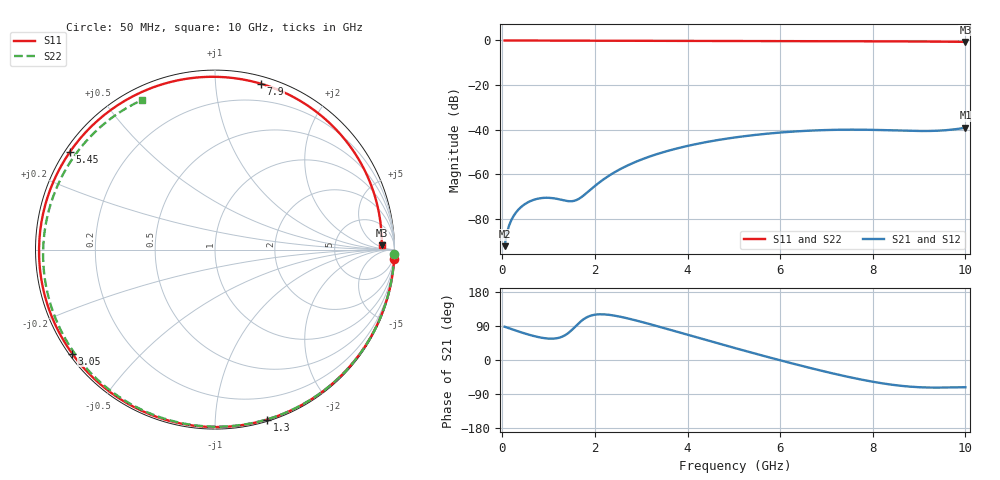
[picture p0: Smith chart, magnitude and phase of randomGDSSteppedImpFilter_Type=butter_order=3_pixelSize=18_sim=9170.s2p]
! freq	dB(S11)	phase(S11)	dB(S12)	phase(S12)
!  dB(S21)	phase(S21)	dB(S22)	phase(S22)
!S-par simulation data
#  GHz  S  DB  R 50
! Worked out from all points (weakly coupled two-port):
!   200 points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, 50 MHz to 10 GHz, reference 50 ohm
!   highest |S21| = -39.10 dB at 10 GHz (marker M1); lowest = -92.2 dB at 50 MHz (marker M2)
!   lowest |S11| = -0.6 dB at 10 GHz (marker M3), VSWR 27.23, Z = 1.22e+03 + j420 ohm
!   |S11| at or under -10 dB: nowhere
!   |S22| runs from -0.7 to 0.0 dB; largest |S21 - S12| = 0
!   S11 on the Smith chart (normalised r, x): 50 MHz: 0, -38; 1.3 GHz: 0.01, -1.35; 3.05 GHz: 0.01, -0.33; 5.45 GHz: 0.01, +0.31; 7.9 GHz: 0.06, +1.32; 10 GHz: 24, +8
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0.05  -0.00 -3.0  -92.15 87.9  -92.15 87.9  -0.00 -1.4
0.2  -0.02 -12.0  -80.26 81.5  -80.26 81.5  -0.01 -5.4
0.4  -0.04 -23.8  -74.72 73.3  -74.72 73.3  -0.02 -10.8
0.7  -0.05 -41.1  -71.25 62.7  -71.25 62.7  -0.02 -18.9
1  -0.07 -57.5  -70.49 56.5  -70.49 56.5  -0.03 -26.8
1.3  -0.08 -73.0  -71.49 61.9  -71.49 61.9  -0.04 -34.8
1.55  -0.10 -85.1  -71.85 85.0  -71.85 85.0  -0.05 -41.3
1.75  -0.10 -94.2  -69.53 107.1  -69.53 107.1  -0.06 -46.4
2.35  -0.12 -119.0  -59.98 118.5  -59.98 118.5  -0.08 -61.6
3.05  -0.14 -144.0  -52.99 99.2  -52.99 99.2  -0.10 -78.7
3.4  -0.15 -155.3  -50.52 87.4  -50.52 87.4  -0.11 -87.1
4.2  -0.17 -179.2  -46.35 59.8  -46.35 59.8  -0.14 -105.6
5.05  -0.21 157.0  -43.37 30.6  -43.37 30.6  -0.19 -124.6
5.45  -0.22 146.0  -42.34 17.2  -42.34 17.2  -0.21 -133.4
6.1  -0.26 127.9  -41.09 -4.0  -41.09 -4.0  -0.25 -147.7
6.7  -0.29 110.8  -40.35 -22.6  -40.35 -22.6  -0.30 -161.0
7.3  -0.32 93.1  -40.00 -40.0  -40.00 -40.0  -0.35 -174.6
7.9  -0.36 74.4  -40.02 -55.1  -40.02 -55.1  -0.41 171.4
8.35  -0.40 59.8  -40.23 -64.2  -40.23 -64.2  -0.46 160.5
8.8  -0.44 44.6  -40.49 -70.3  -40.49 -70.3  -0.51 149.1
9.25  -0.50 28.9  -40.53 -72.7  -40.53 -72.7  -0.57 137.2
10  -0.64 1.5  -39.10 -71.9  -39.10 -71.9  -0.66 116.2
